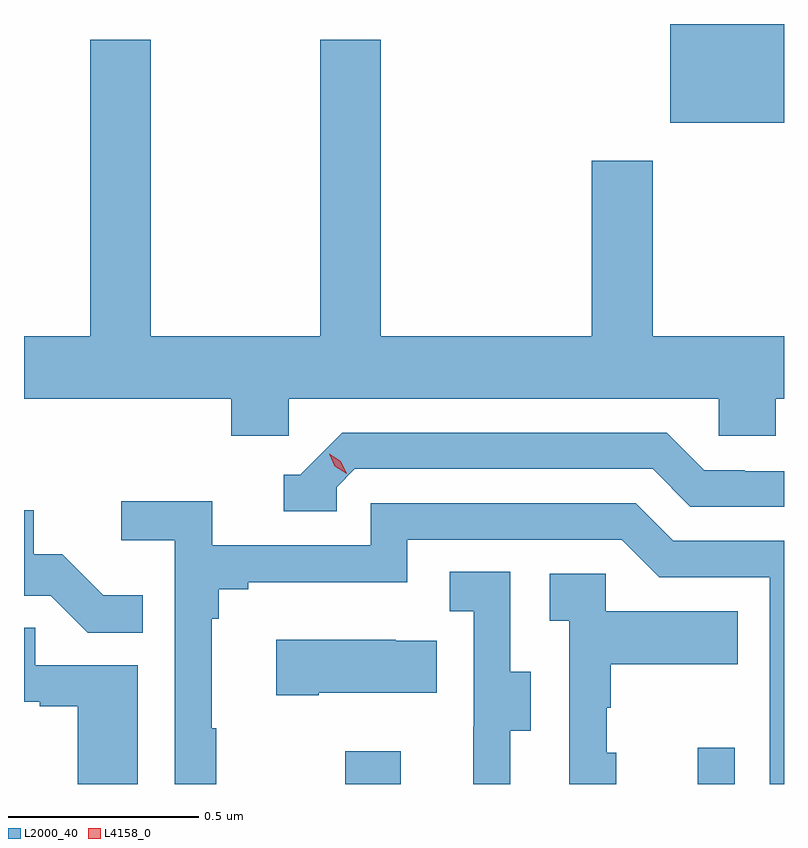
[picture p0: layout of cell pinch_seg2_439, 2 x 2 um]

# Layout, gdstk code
import gdstk
lib = gdstk.Library(unit=1e-6, precision=1e-09)
def R(c, l, rs):  # rectangles x0, y0, x1, y1
    for r in rs: c.add(gdstk.rectangle(r[:2], r[2:], *l))
def P(c, l, *ps):  # polygons
    for p in ps: c.add(gdstk.Polygon(p, *l))
L2000_40 = (2000, 40)
L4158_0 = (4158, 0)

pinch_seg2_439 = lib.new_cell('pinch_seg2_439')
R(pinch_seg2_439, L2000_40, [(930.394,614.654,930.541,614.74), (931.322,614.654,931.419,614.749), (931.25,616.394,931.549,616.654)])
P(pinch_seg2_439, L2000_40, [(930.246,615.668),(931.377,615.668),(931.377,615.57),(931.527,615.57),(931.527,615.668),(931.549,615.668),(931.549,615.832),(931.203,615.832),(931.203,616.294),(931.043,616.294),(931.043,615.832),(930.488,615.832),(930.488,616.612),(930.328,616.612),(930.328,615.832),(929.883,615.832),(929.883,616.612),(929.723,616.612),(929.723,615.832),(929.549,615.832),(929.549,615.668),(930.095,615.668),(930.095,615.57),(930.246,615.57)],
  [(930.372,615.435),(930.42,615.483),(931.203,615.483),(931.302,615.384),(931.549,615.384),(931.549,615.477),(931.446,615.477),(931.446,615.48),(931.339,615.48),(931.24,615.579),(930.387,615.579),(930.276,615.468),(930.233,615.468),(930.233,615.372),(930.372,615.372)],
  [(930.055,614.801),(930.043,614.801),(930.043,615.089),(930.062,615.089),(930.062,615.166),(930.139,615.166),(930.139,615.185),(930.558,615.185),(930.558,615.297),(931.122,615.297),(931.221,615.198),(931.512,615.198),(931.512,614.654),(931.549,614.654),(931.549,615.294),(931.258,615.294),(931.159,615.393),(930.462,615.393),(930.462,615.282),(930.044,615.282),(930.044,615.398),(929.805,615.398),(929.805,615.296),(929.946,615.296),(929.946,614.654),(930.055,614.654)],
  [(929.861,615.151),(929.757,615.151),(929.65,615.258),(929.574,615.258),(929.574,615.375),(929.549,615.375),(929.549,615.15),(929.619,615.15),(929.717,615.052),(929.861,615.052)],
  [(930.829,614.794),(930.883,614.794),(930.883,614.949),(930.828,614.949),(930.828,615.212),(930.669,615.212),(930.669,615.109),(930.732,615.109),(930.732,614.805),(930.731,614.805),(930.731,614.654),(930.829,614.654)],
  [(931.108,614.736),(931.083,614.736),(931.083,614.855),(931.093,614.855),(931.093,614.969),(931.427,614.969),(931.427,615.109),(931.08,615.109),(931.08,615.207),(930.933,615.207),(930.933,615.083),(930.984,615.083),(930.984,614.654),(931.108,614.654)],
  [(929.848,614.967),(929.579,614.967),(929.579,615.065),(929.549,615.065),(929.549,614.871),(929.591,614.871),(929.591,614.859),(929.69,614.859),(929.69,614.654),(929.848,614.654)],
  [(930.325,614.894),(930.635,614.894),(930.635,615.031),(930.527,615.031),(930.527,615.034),(930.213,615.034),(930.213,614.887),(930.325,614.887)])
P(pinch_seg2_439, L4158_0, [(930.398,615.471),(930.367,615.49),(930.352,615.523),(930.352,615.523),(930.352,615.523),(930.382,615.504),(930.398,615.471),(930.398,615.471)])

lib.write_gds('pinch_seg2_439.gds')
